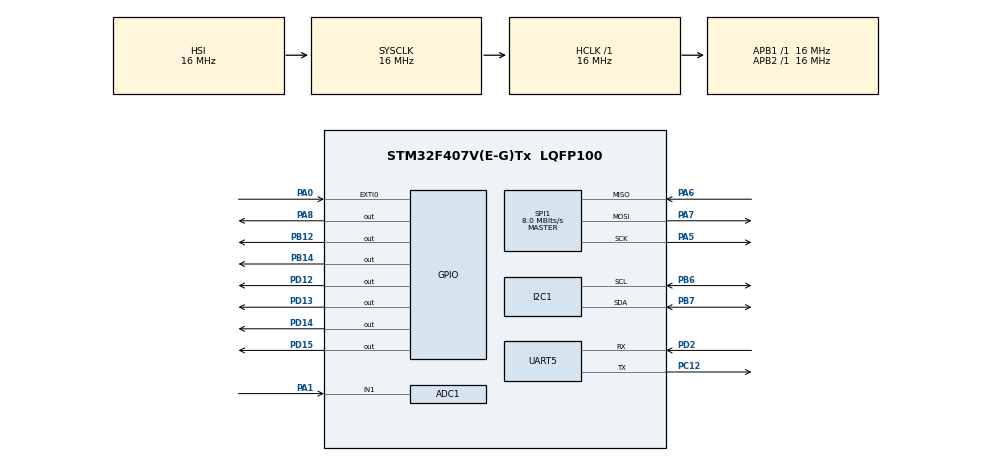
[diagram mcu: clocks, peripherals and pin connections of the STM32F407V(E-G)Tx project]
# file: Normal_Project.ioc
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ADC1.Channel-0\#ChannelRegularConversion=ADC_CHANNEL_1
ADC1.InjNumberOfConversion=0
ADC1.NbrOfConversionFlag=1
ADC1.Rank-0\#ChannelRegularConversion=1
ADC1.SamplingTime-0\#ChannelRegularConversion=ADC_SAMPLETIME_3CYCLES
ADC1.master=1
I2C1.AddressingMode=I2C_ADDRESSINGMODE_10BIT
I2C1.GeneralCallMode=I2C_GENERALCALL_DISABLE
I2C1.OwnAddress=0xEC
Mcu.Family=STM32F4
Mcu.Name=STM32F407V(E-G)Tx
Mcu.Package=LQFP100
NVIC.PriorityGroup=NVIC_PRIORITYGROUP_4
PA0-WKUP.Signal=GPXTI0
PA1.Signal=ADCx_IN1
PA5.Mode=Full_Duplex_Master
PA5.Signal=SPI1_SCK
PA6.Mode=Full_Duplex_Master
PA6.Signal=SPI1_MISO
PA7.Mode=Full_Duplex_Master
PA7.Signal=SPI1_MOSI
PA8.Signal=GPIO_Output
PB12.Signal=GPIO_Output
PB14.Signal=GPIO_Output
PB6.Mode=I2C
PB6.Signal=I2C1_SCL
PB7.Mode=I2C
PB7.Signal=I2C1_SDA
PC12.Mode=Asynchronous
PC12.Signal=UART5_TX
PD12.Signal=GPIO_Output
PD13.Signal=GPIO_Output
PD14.Signal=GPIO_Output
PD15.Signal=GPIO_Output
PD2.Mode=Asynchronous
PD2.Signal=UART5_RX
ProjectManager.HeapSize=0x200
ProjectManager.StackSize=0x400
ProjectManager.TargetToolchain=STM32CubeIDE
RCC.AHBFreq_Value=16000000
RCC.APB1Freq_Value=16000000
RCC.APB2Freq_Value=16000000
RCC.CortexFreq_Value=16000000
RCC.HSE_VALUE=25000000
RCC.HSI_VALUE=16000000
RCC.LSE_VALUE=32768
RCC.SYSCLKFreq_VALUE=16000000
RCC.VCOOutputFreq_Value=192000000
SH.ADCx_IN1.0=ADC1_IN1,IN1
SPI1.CalculateBaudRate=8.0 MBits/s
SPI1.Direction=SPI_DIRECTION_2LINES
SPI1.Mode=SPI_MODE_MASTER
SPI1.VirtualType=VM_MASTER
UART5.VirtualMode=Asynchronous
board=custom

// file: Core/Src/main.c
/* USER CODE BEGIN Header */
/**
  ******************************************************************************
  * @file           : main.c
  * @brief          : Main program body
  ******************************************************************************
  * @attention
  *
  * Copyright (c) 2025 STMicroelectronics.
  * All rights reserved.
  *
  * This software is licensed under terms that can be found in the LICENSE file
  * in the root directory of this software component.
  * If no LICENSE file comes with this software, it is provided AS-IS.
  *
  ******************************************************************************
  */
/* USER CODE END Header */
#include "main.h"

/* USER CODE BEGIN Includes */
#include "stdio.h"
#include "stdlib.h"
#include "string.h"
#include "math.h"

#include "BME280_STM32.h"
#include "ssd1306.h"
#include "ssd1306_fonts.h"
#include "struct.h"
/* USER CODE END Includes */

/* USER CODE BEGIN PD */
#define RL 10.0  // Load resistor in kΩ

// CO2 Constants
#define A_CO2 116.6020682
#define B_CO2 -2.769034857
#define R0_CO2 47.50
// Ammonia (NH3) Constants
#define A_NH3 102.2
#define B_NH3 -2.473
#define R0_NH3 1.86
// Ethanol Constants
#define A_Ethanol 77.255
#define B_Ethanol -3.18
#define R0_Ethanol 3.75
/* USER CODE END PD */

ADC_HandleTypeDef hadc1;

I2C_HandleTypeDef hi2c1;

SPI_HandleTypeDef hspi1;

UART_HandleTypeDef huart5;

/* USER CODE BEGIN PV */
uint8_t current_page = 0;  // Stores which page is currently displayed
char buff[150];//UART buffer

/* USER CODE END PV */

void SystemClock_Config(void);
static void MX_GPIO_Init(void);
static void MX_ADC1_Init(void);
static void MX_I2C1_Init(void);
static void MX_UART5_Init(void);
static void MX_SPI1_Init(void);
/* USER CODE BEGIN PFP */
float calculate_ppm(float, float, float, float);

/* USER CODE END PFP */

int main(void)
{

  /* MCU Configuration--------------------------------------------------------*/

  /* Reset of all peripherals, Initializes the Flash interface and the Systick. */
  HAL_Init();

  /* Configure the system clock */
  SystemClock_Config();

  /* Initialize all configured peripherals */
  MX_GPIO_Init();
  MX_ADC1_Init();
  MX_I2C1_Init();
  MX_UART5_Init();
  MX_SPI1_Init();
  /* USER CODE BEGIN 2 */
  BME280_Config(OSRS_2, OSRS_16, OSRS_1, MODE_NORMAL, T_SB_0p5, IIR_16);//Setting The Modes and Overlasampling in BME280
  	  	  	  	  	  	  	  	  	  	  	  	  	  	  	  	  	  	//line 79 in BME_280_STM32.c

  /* USER CODE END 2 */

  /* Infinite loop */
  while (1)
  {

    /* USER CODE BEGIN 3 */
	  HAL_ADC_Start(&hadc1);
	  BME280_Measure();//Measuring (THP-values) from sensor
	  ssd1306_Init();  // Initialize the OLED display
	  ssd1306_Fill(Black);  // Clear the screen
	  ssd1306_SetCursor(10, 10);
	  ssd1306_WriteString("Hello, STM32!", Font_7x10, White);
	  ssd1306_UpdateScreen();  // Refresh display

	 // HAL_ADC_PollForConversion(&hadc1, 10);//waiting for conversion completion (timeout in milliseconds)
	 // SD.ADC_Data=HAL_ADC_GetValue(&hadc1);
	 // Above Poll API Pauses the ADC So we are using it only ones for checking if the value is converted or not
	  if (HAL_ADC_PollForConversion(&hadc1, 10) == HAL_OK)
	  {
		  SD.ADC_Value = HAL_ADC_GetValue(&hadc1);
	  }// Get ADC value
	  else
	  {
		  SD.ADC_Value=0;
	  }
	    // Convert ADC Value to Voltage (for 5V sensor Vcc)
	  SD.mq135_voltage = (SD.ADC_Value * 5.0) / 4095.0;

	    // Calculate Sensor Resistance (Rs)
	  SD.Rs = ((5.0 - SD.mq135_voltage) / SD.mq135_voltage) * RL;

	  SD.Co2     = calculate_ppm(SD.Rs, R0_CO2, A_CO2, B_CO2);
	  SD.NH3 = calculate_ppm(SD.Rs, R0_NH3, A_NH3, B_NH3);
	  SD.Ethanol = calculate_ppm(SD.Rs, R0_Ethanol, A_Ethanol, B_Ethanol);
	  SD.AQI = ((SD.Co2 / 10) * 0.5) + ((SD.NH3 * 100) * 0.25) + ((SD.Ethanol * 100) * 0.25);

	  sprintf(buff,"Temperature = %.2f\r\nPressure = %.2f\r\nHumidity = %.2f\r\nCo2 = %.2f\r\nAmonia(NH3) = %.2f\r\nEthanol = %.2f\r\nAQI = %.2f\r\n\n",SD.Temperature,SD.Pressure,SD.Humidity,SD.Co2,SD.NH3,SD.Ethanol,SD.AQI);
	  HAL_UART_Transmit(&huart5, (uint8_t *)buff, strlen(buff), 10);
  }
  /* USER CODE END 3 */
}

void SystemClock_Config(void)
{
  RCC_OscInitTypeDef RCC_OscInitStruct = {0};
  RCC_ClkInitTypeDef RCC_ClkInitStruct = {0};

  /** Configure the main internal regulator output voltage
  */
  __HAL_RCC_PWR_CLK_ENABLE();
  __HAL_PWR_VOLTAGESCALING_CONFIG(PWR_REGULATOR_VOLTAGE_SCALE1);

  /** Initializes the RCC Oscillators according to the specified parameters
  * in the RCC_OscInitTypeDef structure.
  */
  RCC_OscInitStruct.OscillatorType = RCC_OSCILLATORTYPE_HSI;
  RCC_OscInitStruct.HSIState = RCC_HSI_ON;
  RCC_OscInitStruct.HSICalibrationValue = RCC_HSICALIBRATION_DEFAULT;
  RCC_OscInitStruct.PLL.PLLState = RCC_PLL_NONE;
  if (HAL_RCC_OscConfig(&RCC_OscInitStruct) != HAL_OK)
  {
    Error_Handler();
  }

  /** Initializes the CPU, AHB and APB buses clocks
  */
  RCC_ClkInitStruct.ClockType = RCC_CLOCKTYPE_HCLK|RCC_CLOCKTYPE_SYSCLK
                              |RCC_CLOCKTYPE_PCLK1|RCC_CLOCKTYPE_PCLK2;
  RCC_ClkInitStruct.SYSCLKSource = RCC_SYSCLKSOURCE_HSI;
  RCC_ClkInitStruct.AHBCLKDivider = RCC_SYSCLK_DIV1;
  RCC_ClkInitStruct.APB1CLKDivider = RCC_HCLK_DIV1;
  RCC_ClkInitStruct.APB2CLKDivider = RCC_HCLK_DIV1;

  if (HAL_RCC_ClockConfig(&RCC_ClkInitStruct, FLASH_LATENCY_0) != HAL_OK)
  {
    Error_Handler();
  }
}

static void MX_ADC1_Init(void)
{

  ADC_ChannelConfTypeDef sConfig = {0};

  /** Configure the global features of the ADC (Clock, Resolution, Data Alignment and number of conversion)
  */
  hadc1.Instance = ADC1;
  hadc1.Init.ClockPrescaler = ADC_CLOCK_SYNC_PCLK_DIV2;
  hadc1.Init.Resolution = ADC_RESOLUTION_12B;
  hadc1.Init.ScanConvMode = DISABLE;
  hadc1.Init.ContinuousConvMode = DISABLE;
  hadc1.Init.DiscontinuousConvMode = DISABLE;
  hadc1.Init.ExternalTrigConvEdge = ADC_EXTERNALTRIGCONVEDGE_NONE;
  hadc1.Init.ExternalTrigConv = ADC_SOFTWARE_START;
  hadc1.Init.DataAlign = ADC_DATAALIGN_RIGHT;
  hadc1.Init.NbrOfConversion = 1;
  hadc1.Init.DMAContinuousRequests = DISABLE;
  hadc1.Init.EOCSelection = ADC_EOC_SINGLE_CONV;
  if (HAL_ADC_Init(&hadc1) != HAL_OK)
  {
    Error_Handler();
  }

  /** Configure for the selected ADC regular channel its corresponding rank in the sequencer and its sample time.
  */
  sConfig.Channel = ADC_CHANNEL_1;
  sConfig.Rank = 1;
  sConfig.SamplingTime = ADC_SAMPLETIME_3CYCLES;
  if (HAL_ADC_ConfigChannel(&hadc1, &sConfig) != HAL_OK)
  {
    Error_Handler();
  }

}

static void MX_I2C1_Init(void)
{

  hi2c1.Instance = I2C1;
  hi2c1.Init.ClockSpeed = 100000;
  hi2c1.Init.DutyCycle = I2C_DUTYCYCLE_2;
  hi2c1.Init.OwnAddress1 = 236;
  hi2c1.Init.AddressingMode = I2C_ADDRESSINGMODE_10BIT;
  hi2c1.Init.DualAddressMode = I2C_DUALADDRESS_DISABLE;
  hi2c1.Init.OwnAddress2 = 0;
  hi2c1.Init.GeneralCallMode = I2C_GENERALCALL_DISABLE;
  hi2c1.Init.NoStretchMode = I2C_NOSTRETCH_DISABLE;
  if (HAL_I2C_Init(&hi2c1) != HAL_OK)
  {
    Error_Handler();
  }

}

static void MX_SPI1_Init(void)
{

  /* SPI1 parameter configuration*/
  hspi1.Instance = SPI1;
  hspi1.Init.Mode = SPI_MODE_MASTER;
  hspi1.Init.Direction = SPI_DIRECTION_2LINES;
  hspi1.Init.DataSize = SPI_DATASIZE_8BIT;
  hspi1.Init.CLKPolarity = SPI_POLARITY_LOW;
  hspi1.Init.CLKPhase = SPI_PHASE_1EDGE;
  hspi1.Init.NSS = SPI_NSS_SOFT;
  hspi1.Init.BaudRatePrescaler = SPI_BAUDRATEPRESCALER_2;
  hspi1.Init.FirstBit = SPI_FIRSTBIT_MSB;
  hspi1.Init.TIMode = SPI_TIMODE_DISABLE;
  hspi1.Init.CRCCalculation = SPI_CRCCALCULATION_DISABLE;
  hspi1.Init.CRCPolynomial = 10;
  if (HAL_SPI_Init(&hspi1) != HAL_OK)
  {
    Error_Handler();
  }

}

static void MX_UART5_Init(void)
{

  huart5.Instance = UART5;
  huart5.Init.BaudRate = 115200;
  huart5.Init.WordLength = UART_WORDLENGTH_8B;
  huart5.Init.StopBits = UART_STOPBITS_1;
  huart5.Init.Parity = UART_PARITY_NONE;
  huart5.Init.Mode = UART_MODE_TX_RX;
  huart5.Init.HwFlowCtl = UART_HWCONTROL_NONE;
  huart5.Init.OverSampling = UART_OVERSAMPLING_16;
  if (HAL_UART_Init(&huart5) != HAL_OK)
  {
    Error_Handler();
  }

}

static void MX_GPIO_Init(void)
{
  GPIO_InitTypeDef GPIO_InitStruct = {0};

  /* GPIO Ports Clock Enable */
  __HAL_RCC_GPIOA_CLK_ENABLE();
  __HAL_RCC_GPIOB_CLK_ENABLE();
  __HAL_RCC_GPIOD_CLK_ENABLE();
  __HAL_RCC_GPIOC_CLK_ENABLE();

  /*Configure GPIO pin Output Level */
  HAL_GPIO_WritePin(GPIOB, GPIO_PIN_12|GPIO_PIN_14, GPIO_PIN_RESET);

  /*Configure GPIO pin Output Level */
  HAL_GPIO_WritePin(GPIOD, GPIO_PIN_12|GPIO_PIN_13|GPIO_PIN_14|GPIO_PIN_15, GPIO_PIN_RESET);

  /*Configure GPIO pin Output Level */
  HAL_GPIO_WritePin(GPIOA, GPIO_PIN_8, GPIO_PIN_RESET);

  /*Configure GPIO pin : PA0 */
  GPIO_InitStruct.Pin = GPIO_PIN_0;
  GPIO_InitStruct.Mode = GPIO_MODE_IT_RISING;
  GPIO_InitStruct.Pull = GPIO_NOPULL;
  HAL_GPIO_Init(GPIOA, &GPIO_InitStruct);

  /*Configure GPIO pins : PB12 PB14 */
  GPIO_InitStruct.Pin = GPIO_PIN_12|GPIO_PIN_14;
  GPIO_InitStruct.Mode = GPIO_MODE_OUTPUT_PP;
  GPIO_InitStruct.Pull = GPIO_NOPULL;
  GPIO_InitStruct.Speed = GPIO_SPEED_FREQ_LOW;
  HAL_GPIO_Init(GPIOB, &GPIO_InitStruct);

  /*Configure GPIO pins : PD12 PD13 PD14 PD15 */
  GPIO_InitStruct.Pin = GPIO_PIN_12|GPIO_PIN_13|GPIO_PIN_14|GPIO_PIN_15;
  GPIO_InitStruct.Mode = GPIO_MODE_OUTPUT_PP;
  GPIO_InitStruct.Pull = GPIO_NOPULL;
  GPIO_InitStruct.Speed = GPIO_SPEED_FREQ_LOW;
  HAL_GPIO_Init(GPIOD, &GPIO_InitStruct);

  /*Configure GPIO pin : PA8 */
  GPIO_InitStruct.Pin = GPIO_PIN_8;
  GPIO_InitStruct.Mode = GPIO_MODE_OUTPUT_PP;
  GPIO_InitStruct.Pull = GPIO_NOPULL;
  GPIO_InitStruct.Speed = GPIO_SPEED_FREQ_LOW;
  HAL_GPIO_Init(GPIOA, &GPIO_InitStruct);

}

/* USER CODE BEGIN 4 */
float calculate_ppm(float Rs, float R0, float A, float B)
{
    return A * pow((Rs / R0), B);
}

/* USER CODE END 4 */

void Error_Handler(void)
{
  __disable_irq();
  while (1)
  {
  }
}
